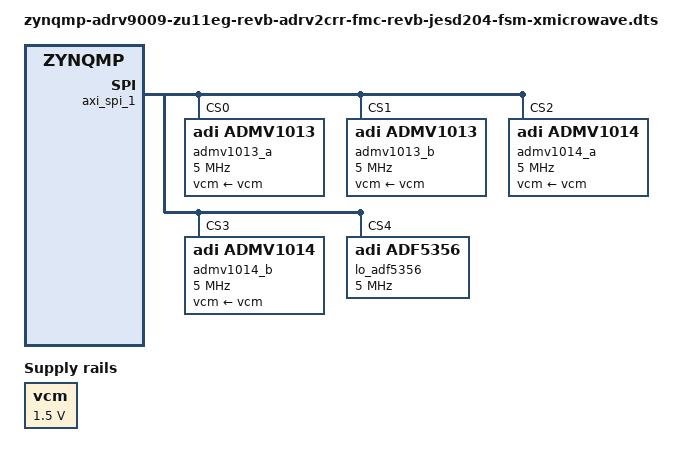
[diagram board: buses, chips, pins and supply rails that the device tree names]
// SPDX-License-Identifier: GPL-2.0
/*
 * ADRV2CRR-FMC using ADRV9009-ZU11EG Rev.B System on Module
 *
 * https://wiki.analog.com/resources/eval/user-guides/adrv9009
 * https://wiki.analog.com/resources/tools-software/linux-drivers/iio-transceiver/adrv9009
 * https://wiki.analog.com/resources/tools-software/linux-software/adrv9009_advanced_plugin
 * https://wiki.analog.com/resources/eval/user-guides/adrv9009-zu11eg/adrv2crr-fmc_carrier_board
 *
 * hdl_project: <adrv9009zu11eg/adrv2crr_fmc>
 * board_revision: <B>
 *
 * Copyright (C) 2021 Analog Devices Inc.
 */

#include "zynqmp-adrv9009-zu11eg-revb-adrv2crr-fmc-revb-jesd204-fsm.dts"

/ {
	adf5356_clkin: clock@0 {
		compatible = "fixed-clock";

		clock-frequency = <100000000>;
		clock-output-names = "refclk";
		#clock-cells = <0>;
	};

	vcm: fixedregulator@0 {
		compatible = "regulator-fixed";
		regulator-name = "vcm";
		regulator-min-microvolt = <1500000>;
		regulator-max-microvolt = <1500000>;
		regulator-boot-on;
	};
};

&fpga_axi {
	axi_spi_1: spi@84000000 {
		#address-cells = <1>;
		#size-cells = <0>;
		bits-per-word = <8>;
		compatible = "xlnx,xps-spi-2.00.a";
		reg = <0x0 0x84000000 0x1000>;
		fifo-size = <16>;
		interrupts = <0 92 IRQ_TYPE_EDGE_RISING>;
		num-cs = <0x8>;
		xlnx,num-ss-bits = <0x8>;
		xlnx,spi-mode = <0>;
	};
};

&axi_spi_1 {
	admv1013_a@0 {
		compatible = "adi,admv1013";
		reg = <0>;
		spi-max-frequency = <5000000>;
		clocks = <&lo_adf5356>;
		clock-names = "lo_in";
		clock-scales = <1 8>;
		vcm-supply = <&vcm>;
		adi,parity-en;
		adi,quad-se-mode = <9>;
		adi,mixer-if-en;
		adi,det-en;
	};

	admv1013_b@1 {
		compatible = "adi,admv1013";
		reg = <1>;
		spi-max-frequency = <5000000>;
		clocks = <&lo_adf5356>;
		clock-names = "lo_in";
		clock-scales = <1 8>;
		vcm-supply = <&vcm>;
		adi,quad-se-mode = <9>;
		adi,parity-en;
		adi,mixer-if-en;
		adi,det-en;
	};

	admv1014_a@2 {
		compatible = "adi,admv1014";
		reg = <2>;
		spi-max-frequency = <5000000>;
		clocks = <&lo_adf5356>;
		clock-names = "lo_in";
		clock-scales = <1 8>;
		vcm-supply = <&vcm>;
		adi,quad-se-mode = <6>;
		adi,p1db-comp = <3>;
		adi,det-prog = <4>;
		adi,parity-en;
		adi,bb-amp-gain-ctrl = <0>;
	};

	admv1014_b@3 {
		compatible = "adi,admv1014";
		reg = <3>;
		spi-max-frequency = <5000000>;
		clocks = <&lo_adf5356>;
		clock-names = "lo_in";
		clock-scales = <1 8>;
		vcm-supply = <&vcm>;
		adi,quad-se-mode = <6>;
		adi,p1db-comp = <3>;
		adi,det-prog = <4>;
		adi,parity-en;
		adi,bb-amp-gain-ctrl = <0>;
	};

	lo_adf5356: adf5356@4 {
		#clock-cells = <0>;
		compatible = "adi,adf5356";
		reg = <4>;
		spi-max-frequency = <5000000>;
		clocks = <&adf5356_clkin>;
		clock-names = "clkin";
		clock-output-names = "ADF5356";
		adi,charge-pump-current = <900>;
		adi,muxout-select = <6>;
		adi,muxout-level-3v3-enable;
		adi,mute-till-lock-enable;
		adi,output-a-power = <3>;
		adi,output-b-power = <3>;
		adi,charge-pump-negative-bleed-enable;
		adi,power-up-frequency = /bits/ 64 <6800000000>;
		adi,output-b-enable;
		adi,reference-doubler-enable;
	};
};
